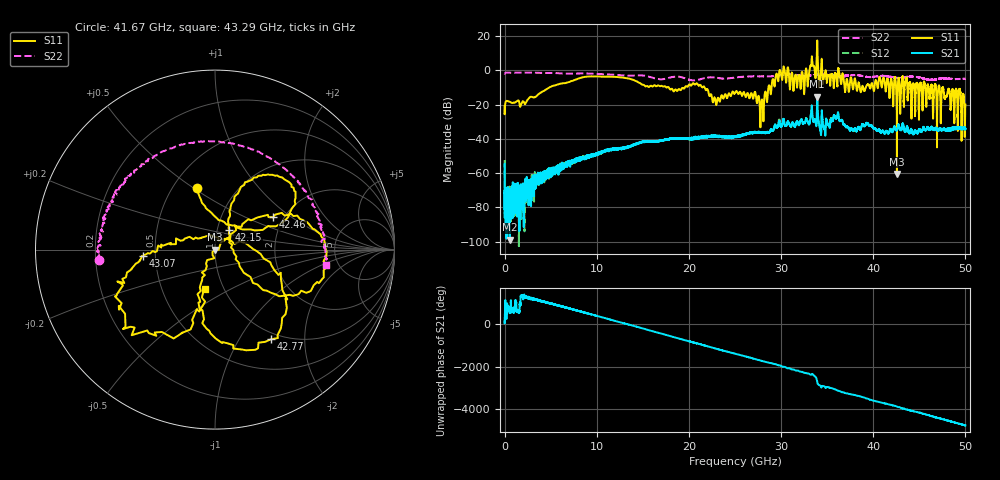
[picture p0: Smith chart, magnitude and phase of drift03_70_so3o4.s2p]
!Created with skrf (http://scikit-rf.org).
# Hz S RI R 50.0
!freq ReS11 ImS11 ReS21 ImS21 ReS12 ImS12 ReS22 ImS22
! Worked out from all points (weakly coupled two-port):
!   10001 points, 300 kHz to 50 GHz, reference 50 ohm
!   highest |S21| = -15.39 dB at 33.92 GHz (marker M1); lowest = -98.9 dB at 550.3 MHz (marker M2)
!   lowest |S11| = -60.6 dB at 42.57 GHz (marker M3), VSWR 1.00, Z = 50.1 - j0.0554 ohm
!   |S11| at or under -10 dB: start of sweep to 4.85 GHz; 21.69 GHz to 28.62 GHz (6.932 GHz wide, 27.6 % of centre); 47.54 GHz to end of sweep (the widest 3 of 45)
!   |S22| runs from -5.9 to -1.3 dB; largest |S21 - S12| = 0.017
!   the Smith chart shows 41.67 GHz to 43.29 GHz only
!   S11 on the Smith chart (normalised r, x): 41.67 GHz: 0.66, +0.52; 42.15 GHz: 1.14, +0.25; 42.46 GHz: 1.76, +0.73; 42.77 GHz: 0.90, -1.38; 43.07 GHz: 0.43, -0.03; 43.29 GHz: 0.82, -0.38
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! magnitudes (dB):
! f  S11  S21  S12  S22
! 300 kHz  -21.1  -54.7  -52.4  -2.1
! 255.3 MHz  -17.9  -70.4  -76.2  -1.4
! 550.3 MHz  -18.3  -98.9  -76.6  -1.5
! 8.335 GHz  -4.3  -51.8  -51.7  -1.9
! 16.67 GHz  -8.8  -41.3  -41.3  -5.2
! 21.01 GHz  -8.7  -39.2  -39.0  -5.5
! 22.81 GHz  -16.1  -38.5  -38.7  -4.2
! 25 GHz  -13.4  -39.0  -38.4  -4.3
! 27.92 GHz  -17.1  -36.2  -36.4  -3.5
! 29.69 GHz  -6.4  -32.1  -31.7  -3.1
! 32.32 GHz  -1.5  -30.5  -30.6  -3.3
! 33.34 GHz  8.0  -20.6  -20.8  -2.9
! 33.92 GHz  17.4  -15.4  -15.8  -2.5
! 38.82 GHz  -9.2  -31.3  -31.8  -3.3
! 41.67 GHz  -9.0  -36.9  -36.7  -3.7
! 42.15 GHz  -17.5  -35.4  -35.3  -4.1
! 42.46 GHz  -8.6  -34.6  -34.6  -4.3
! 42.57 GHz  -60.6  -34.7  -34.6  -4.4
! 42.77 GHz  -4.6  -31.6  -31.9  -4.5
! 43.07 GHz  -7.9  -34.7  -34.6  -4.4
! 43.29 GHz  -12.9  -32.8  -32.7  -4.1
! 50 GHz  -20.0  -34.1  -33.7  -5.0
